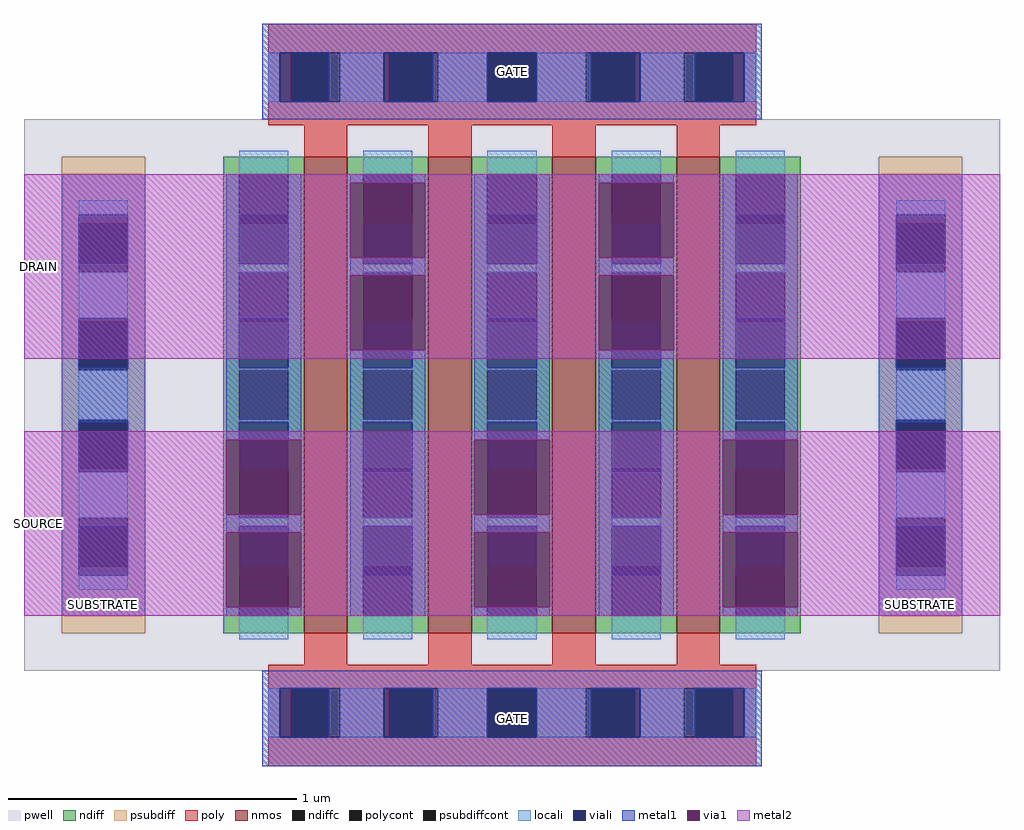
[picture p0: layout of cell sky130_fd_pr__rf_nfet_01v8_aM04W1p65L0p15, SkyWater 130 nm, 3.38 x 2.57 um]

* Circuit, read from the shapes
.subckt sky130_fd_pr__rf_nfet_01v8_aM04W1p65L0p15 DRAIN GATE SOURCE SUBSTRATE
XM1 DRAIN GATE SOURCE SUBSTRATE sky130_fd_pr__nfet_01v8 w=1.65 l=0.15 m=4
.ends

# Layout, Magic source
magic
tech sky130A
magscale 1 2
<< pwell >>
rect 10 76 686 458
<< nmos >>
rect 204 102 234 432
rect 290 102 320 432
rect 376 102 406 432
rect 462 102 492 432
<< ndiff >>
rect 148 420 204 432
rect 148 386 159 420
rect 193 386 204 420
rect 148 352 204 386
rect 148 318 159 352
rect 193 318 204 352
rect 148 284 204 318
rect 148 250 159 284
rect 193 250 204 284
rect 148 216 204 250
rect 148 182 159 216
rect 193 182 204 216
rect 148 148 204 182
rect 148 114 159 148
rect 193 114 204 148
rect 148 102 204 114
rect 234 420 290 432
rect 234 386 245 420
rect 279 386 290 420
rect 234 352 290 386
rect 234 318 245 352
rect 279 318 290 352
rect 234 284 290 318
rect 234 250 245 284
rect 279 250 290 284
rect 234 216 290 250
rect 234 182 245 216
rect 279 182 290 216
rect 234 148 290 182
rect 234 114 245 148
rect 279 114 290 148
rect 234 102 290 114
rect 320 420 376 432
rect 320 386 331 420
rect 365 386 376 420
rect 320 352 376 386
rect 320 318 331 352
rect 365 318 376 352
rect 320 284 376 318
rect 320 250 331 284
rect 365 250 376 284
rect 320 216 376 250
rect 320 182 331 216
rect 365 182 376 216
rect 320 148 376 182
rect 320 114 331 148
rect 365 114 376 148
rect 320 102 376 114
rect 406 420 462 432
rect 406 386 417 420
rect 451 386 462 420
rect 406 352 462 386
rect 406 318 417 352
rect 451 318 462 352
rect 406 284 462 318
rect 406 250 417 284
rect 451 250 462 284
rect 406 216 462 250
rect 406 182 417 216
rect 451 182 462 216
rect 406 148 462 182
rect 406 114 417 148
rect 451 114 462 148
rect 406 102 462 114
rect 492 420 548 432
rect 492 386 503 420
rect 537 386 548 420
rect 492 352 548 386
rect 492 318 503 352
rect 537 318 548 352
rect 492 284 548 318
rect 492 250 503 284
rect 537 250 548 284
rect 492 216 548 250
rect 492 182 503 216
rect 537 182 548 216
rect 492 148 548 182
rect 492 114 503 148
rect 537 114 548 148
rect 492 102 548 114
<< ndiffc >>
rect 159 386 193 420
rect 159 318 193 352
rect 159 250 193 284
rect 159 182 193 216
rect 159 114 193 148
rect 245 386 279 420
rect 245 318 279 352
rect 245 250 279 284
rect 245 182 279 216
rect 245 114 279 148
rect 331 386 365 420
rect 331 318 365 352
rect 331 250 365 284
rect 331 182 365 216
rect 331 114 365 148
rect 417 386 451 420
rect 417 318 451 352
rect 417 250 451 284
rect 417 182 451 216
rect 417 114 451 148
rect 503 386 537 420
rect 503 318 537 352
rect 503 250 537 284
rect 503 182 537 216
rect 503 114 537 148
<< psubdiff >>
rect 36 386 94 432
rect 36 352 48 386
rect 82 352 94 386
rect 36 318 94 352
rect 36 284 48 318
rect 82 284 94 318
rect 36 250 94 284
rect 36 216 48 250
rect 82 216 94 250
rect 36 182 94 216
rect 36 148 48 182
rect 82 148 94 182
rect 36 102 94 148
rect 602 386 660 432
rect 602 352 614 386
rect 648 352 660 386
rect 602 318 660 352
rect 602 284 614 318
rect 648 284 660 318
rect 602 250 660 284
rect 602 216 614 250
rect 648 216 660 250
rect 602 182 660 216
rect 602 148 614 182
rect 648 148 660 182
rect 602 102 660 148
<< psubdiffcont >>
rect 48 352 82 386
rect 48 284 82 318
rect 48 216 82 250
rect 48 148 82 182
rect 614 352 648 386
rect 614 284 648 318
rect 614 216 648 250
rect 614 148 648 182
<< poly >>
rect 179 504 517 524
rect 179 470 195 504
rect 229 470 263 504
rect 297 470 331 504
rect 365 470 399 504
rect 433 470 467 504
rect 501 470 517 504
rect 179 454 517 470
rect 204 432 234 454
rect 290 432 320 454
rect 376 432 406 454
rect 462 432 492 454
rect 204 80 234 102
rect 290 80 320 102
rect 376 80 406 102
rect 462 80 492 102
rect 179 64 517 80
rect 179 30 195 64
rect 229 30 263 64
rect 297 30 331 64
rect 365 30 399 64
rect 433 30 467 64
rect 501 30 517 64
rect 179 10 517 30
<< polycont >>
rect 195 470 229 504
rect 263 470 297 504
rect 331 470 365 504
rect 399 470 433 504
rect 467 470 501 504
rect 195 30 229 64
rect 263 30 297 64
rect 331 30 365 64
rect 399 30 433 64
rect 467 30 501 64
<< locali >>
rect 179 470 187 504
rect 229 470 259 504
rect 297 470 331 504
rect 365 470 399 504
rect 437 470 467 504
rect 509 470 517 504
rect 159 420 193 436
rect 48 392 82 402
rect 48 320 82 352
rect 48 250 82 284
rect 48 182 82 214
rect 48 132 82 142
rect 159 352 193 358
rect 159 284 193 286
rect 159 248 193 250
rect 159 176 193 182
rect 159 98 193 114
rect 245 420 279 436
rect 245 352 279 358
rect 245 284 279 286
rect 245 248 279 250
rect 245 176 279 182
rect 245 98 279 114
rect 331 420 365 436
rect 331 352 365 358
rect 331 284 365 286
rect 331 248 365 250
rect 331 176 365 182
rect 331 98 365 114
rect 417 420 451 436
rect 417 352 451 358
rect 417 284 451 286
rect 417 248 451 250
rect 417 176 451 182
rect 417 98 451 114
rect 503 420 537 436
rect 503 352 537 358
rect 503 284 537 286
rect 503 248 537 250
rect 503 176 537 182
rect 614 392 648 402
rect 614 320 648 352
rect 614 250 648 284
rect 614 182 648 214
rect 614 132 648 142
rect 503 98 537 114
rect 179 30 187 64
rect 229 30 259 64
rect 297 30 331 64
rect 365 30 399 64
rect 437 30 467 64
rect 509 30 517 64
<< viali >>
rect 187 470 195 504
rect 195 470 221 504
rect 259 470 263 504
rect 263 470 293 504
rect 331 470 365 504
rect 403 470 433 504
rect 433 470 437 504
rect 475 470 501 504
rect 501 470 509 504
rect 48 386 82 392
rect 48 358 82 386
rect 48 318 82 320
rect 48 286 82 318
rect 48 216 82 248
rect 48 214 82 216
rect 48 148 82 176
rect 48 142 82 148
rect 159 386 193 392
rect 159 358 193 386
rect 159 318 193 320
rect 159 286 193 318
rect 159 216 193 248
rect 159 214 193 216
rect 159 148 193 176
rect 159 142 193 148
rect 245 386 279 392
rect 245 358 279 386
rect 245 318 279 320
rect 245 286 279 318
rect 245 216 279 248
rect 245 214 279 216
rect 245 148 279 176
rect 245 142 279 148
rect 331 386 365 392
rect 331 358 365 386
rect 331 318 365 320
rect 331 286 365 318
rect 331 216 365 248
rect 331 214 365 216
rect 331 148 365 176
rect 331 142 365 148
rect 417 386 451 392
rect 417 358 451 386
rect 417 318 451 320
rect 417 286 451 318
rect 417 216 451 248
rect 417 214 451 216
rect 417 148 451 176
rect 417 142 451 148
rect 503 386 537 392
rect 503 358 537 386
rect 503 318 537 320
rect 503 286 537 318
rect 503 216 537 248
rect 503 214 537 216
rect 503 148 537 176
rect 503 142 537 148
rect 614 386 648 392
rect 614 358 648 386
rect 614 318 648 320
rect 614 286 648 318
rect 614 216 648 248
rect 614 214 648 216
rect 614 148 648 176
rect 614 142 648 148
rect 187 30 195 64
rect 195 30 221 64
rect 259 30 263 64
rect 263 30 293 64
rect 331 30 365 64
rect 403 30 433 64
rect 433 30 437 64
rect 475 30 501 64
rect 501 30 509 64
<< metal1 >>
rect 175 504 521 524
rect 175 470 187 504
rect 221 470 259 504
rect 293 470 331 504
rect 365 470 403 504
rect 437 470 475 504
rect 509 470 521 504
rect 175 458 521 470
rect 36 392 94 420
rect 36 358 48 392
rect 82 358 94 392
rect 36 320 94 358
rect 36 286 48 320
rect 82 286 94 320
rect 36 248 94 286
rect 36 214 48 248
rect 82 214 94 248
rect 36 176 94 214
rect 36 142 48 176
rect 82 142 94 176
rect 36 114 94 142
rect 150 392 202 420
rect 150 358 159 392
rect 193 358 202 392
rect 150 320 202 358
rect 150 286 159 320
rect 193 286 202 320
rect 150 248 202 286
rect 150 236 159 248
rect 193 236 202 248
rect 150 176 202 184
rect 150 172 159 176
rect 193 172 202 176
rect 150 114 202 120
rect 236 414 288 420
rect 236 358 245 362
rect 279 358 288 362
rect 236 350 288 358
rect 236 286 245 298
rect 279 286 288 298
rect 236 248 288 286
rect 236 214 245 248
rect 279 214 288 248
rect 236 176 288 214
rect 236 142 245 176
rect 279 142 288 176
rect 236 114 288 142
rect 322 392 374 420
rect 322 358 331 392
rect 365 358 374 392
rect 322 320 374 358
rect 322 286 331 320
rect 365 286 374 320
rect 322 248 374 286
rect 322 236 331 248
rect 365 236 374 248
rect 322 176 374 184
rect 322 172 331 176
rect 365 172 374 176
rect 322 114 374 120
rect 408 414 460 420
rect 408 358 417 362
rect 451 358 460 362
rect 408 350 460 358
rect 408 286 417 298
rect 451 286 460 298
rect 408 248 460 286
rect 408 214 417 248
rect 451 214 460 248
rect 408 176 460 214
rect 408 142 417 176
rect 451 142 460 176
rect 408 114 460 142
rect 494 392 546 420
rect 494 358 503 392
rect 537 358 546 392
rect 494 320 546 358
rect 494 286 503 320
rect 537 286 546 320
rect 494 248 546 286
rect 494 236 503 248
rect 537 236 546 248
rect 494 176 546 184
rect 494 172 503 176
rect 537 172 546 176
rect 494 114 546 120
rect 602 392 660 420
rect 602 358 614 392
rect 648 358 660 392
rect 602 320 660 358
rect 602 286 614 320
rect 648 286 660 320
rect 602 248 660 286
rect 602 214 614 248
rect 648 214 660 248
rect 602 176 660 214
rect 602 142 614 176
rect 648 142 660 176
rect 602 114 660 142
rect 175 64 521 76
rect 175 30 187 64
rect 221 30 259 64
rect 293 30 331 64
rect 365 30 403 64
rect 437 30 475 64
rect 509 30 521 64
rect 175 10 521 30
<< via1 >>
rect 150 214 159 236
rect 159 214 193 236
rect 193 214 202 236
rect 150 184 202 214
rect 150 142 159 172
rect 159 142 193 172
rect 193 142 202 172
rect 150 120 202 142
rect 236 392 288 414
rect 236 362 245 392
rect 245 362 279 392
rect 279 362 288 392
rect 236 320 288 350
rect 236 298 245 320
rect 245 298 279 320
rect 279 298 288 320
rect 322 214 331 236
rect 331 214 365 236
rect 365 214 374 236
rect 322 184 374 214
rect 322 142 331 172
rect 331 142 365 172
rect 365 142 374 172
rect 322 120 374 142
rect 408 392 460 414
rect 408 362 417 392
rect 417 362 451 392
rect 451 362 460 392
rect 408 320 460 350
rect 408 298 417 320
rect 417 298 451 320
rect 451 298 460 320
rect 494 214 503 236
rect 503 214 537 236
rect 537 214 546 236
rect 494 184 546 214
rect 494 142 503 172
rect 503 142 537 172
rect 537 142 546 172
rect 494 120 546 142
<< metal2 >>
rect 10 414 686 420
rect 10 362 236 414
rect 288 362 408 414
rect 460 362 686 414
rect 10 350 686 362
rect 10 298 236 350
rect 288 298 408 350
rect 460 298 686 350
rect 10 292 686 298
rect 10 236 686 242
rect 10 184 150 236
rect 202 184 322 236
rect 374 184 494 236
rect 546 184 686 236
rect 10 172 686 184
rect 10 120 150 172
rect 202 120 322 172
rect 374 120 494 172
rect 546 120 686 172
rect 10 114 686 120
<< labels >>
flabel metal2 s 10 292 30 420 7 FreeSans 300 180 0 0 DRAIN
port 1 nsew
flabel metal2 s 10 114 30 242 7 FreeSans 300 180 0 0 SOURCE
port 3 nsew
flabel metal1 s 602 114 660 130 3 FreeSans 300 90 0 0 SUBSTRATE
port 4 nsew
flabel metal1 s 175 458 521 524 0 FreeSans 300 0 0 0 GATE
port 2 nsew
flabel metal1 s 175 10 521 76 0 FreeSans 300 0 0 0 GATE
port 2 nsew
flabel metal1 s 36 114 94 130 3 FreeSans 300 90 0 0 SUBSTRATE
port 4 nsew
<< properties >>
string GDS_FILE $PDKPATH/libs.ref/sky130_fd_pr/gds/sky130_fd_pr.gds
string GDS_END 5276824
string GDS_START 5266428
<< end >>
